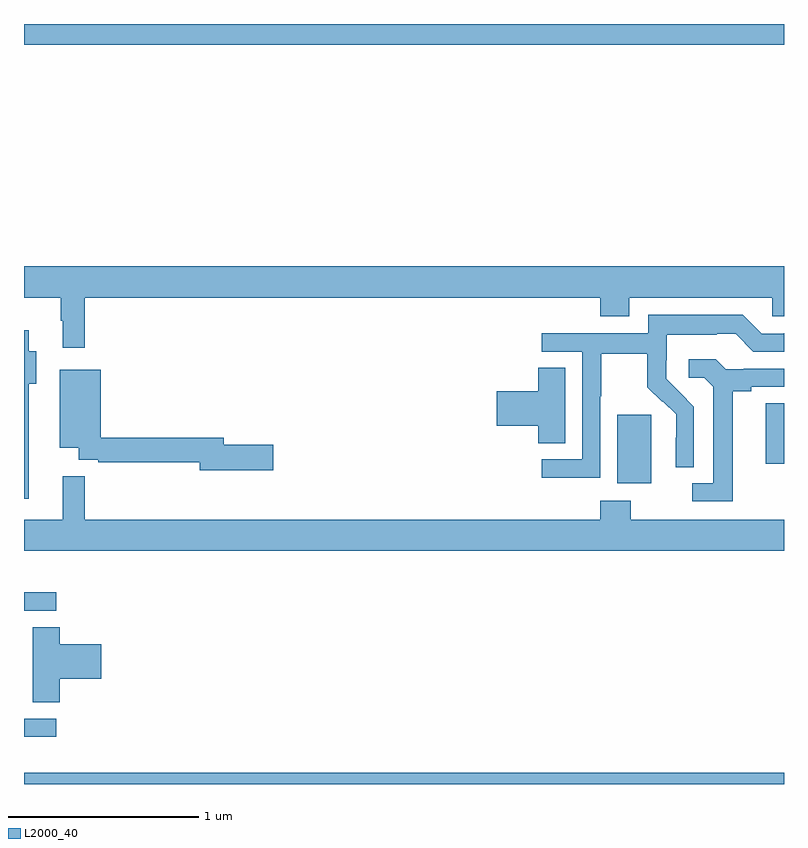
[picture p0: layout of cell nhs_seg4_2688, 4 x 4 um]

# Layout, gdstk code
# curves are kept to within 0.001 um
import gdstk
lib = gdstk.Library(unit=1e-6, precision=1e-09)
def R(c, l, rs):  # rectangles x0, y0, x1, y1
    for r in rs: c.add(gdstk.rectangle(r[:2], r[2:], *l))
def P(c, l, *ps):  # polygons
    for p in ps: c.add(gdstk.Polygon(p, *l))
L2000_40 = (2000, 40)

nhs_seg4_2688 = lib.new_cell('nhs_seg4_2688')
R(nhs_seg4_2688, L2000_40, [(251,820.9,255,820.96), (251,821.148,251.17,821.244), (251,821.811,251.17,821.91), (254.123,822.482,254.302,822.843), (254.903,822.585,255,822.905), (251,824.792,255,824.9)])
P(nhs_seg4_2688, L2000_40, [(251.321,823.46),(254.033,823.46),(254.033,823.361),(254.185,823.361),(254.185,823.46),(254.937,823.46),(254.937,823.362),(255,823.362),(255,823.624),(251,823.624),(251,823.46),(251.193,823.46),(251.193,823.337),(251.204,823.337),(251.204,823.197),(251.321,823.197)],
  [(254.034,822.94),(254.037,822.94),(254.037,823.164),(254.281,823.164),(254.281,822.989),(254.358,822.912),(254.361,822.915),(254.432,822.845),(254.432,822.722),(254.43,822.722),(254.43,822.568),(254.526,822.568),(254.526,822.886),(254.38,823.034),(254.38,823.131),(254.382,823.131),(254.382,823.265),(254.645,823.265),(254.645,823.269),(254.745,823.269),(254.838,823.176),(255,823.176),(255,823.272),(254.999,823.269),(254.883,823.269),(254.783,823.369),(254.286,823.369),(254.286,823.272),(253.725,823.272),(253.725,823.176),(253.938,823.176),(253.938,822.609),(253.725,822.609),(253.725,822.511),(254.034,822.511)],
  [(251.026,823.007),(251.065,823.007),(251.065,823.177),(251.026,823.177),(251.026,823.288),(251,823.288),(251,822.402),(251.026,822.402)],
  [(254.731,822.968),(254.827,822.968),(254.827,822.99),(255,822.99),(255,823.086),(254.788,823.086),(254.788,823.083),(254.694,823.083),(254.642,823.135),(254.499,823.135),(254.499,823.038),(254.58,823.038),(254.627,822.991),(254.627,822.483),(254.517,822.483),(254.517,822.387),(254.731,822.387)],
  [(253.849,823.091),(253.706,823.091),(253.706,822.968),(253.488,822.968),(253.488,822.785),(253.706,822.785),(253.706,822.694),(253.849,822.694)],
  [(252.313,822.686),(252.052,822.686),(252.052,822.722),(251.404,822.722),(251.404,823.081),(251.189,823.081),(251.189,822.671),(251.288,822.671),(251.288,822.606),(251.392,822.606),(251.392,822.594),(251.924,822.594),(251.924,822.551),(252.313,822.551)],
  [(255,822.292),(254.193,822.292),(254.193,822.391),(254.033,822.391),(254.033,822.292),(251.321,822.292),(251.321,822.521),(251.204,822.521),(251.204,822.292),(251,822.292),(251,822.128),(255,822.128)],
  [(251.189,821.453),(251.407,821.453),(251.407,821.636),(251.189,821.636),(251.189,821.726),(251.045,821.726),(251.045,821.329),(251.189,821.329)])

lib.write_gds('nhs_seg4_2688.gds')
